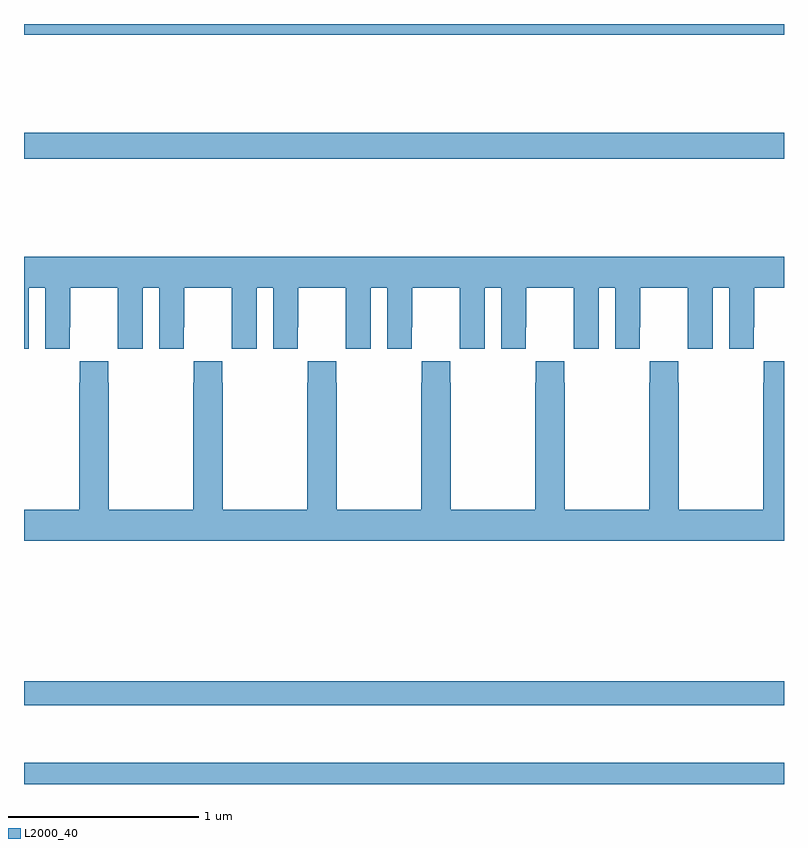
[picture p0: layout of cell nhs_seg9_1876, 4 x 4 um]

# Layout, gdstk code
import gdstk
lib = gdstk.Library(unit=1e-6, precision=1e-09)
def R(c, l, rs):  # rectangles x0, y0, x1, y1
    for r in rs: c.add(gdstk.rectangle(r[:2], r[2:], *l))
def P(c, l, *ps):  # polygons
    for p in ps: c.add(gdstk.Polygon(p, *l))
L2000_40 = (2000, 40)

nhs_seg9_1876 = lib.new_cell('nhs_seg9_1876')
R(nhs_seg9_1876, L2000_40, [(217,1168.5,221,1168.612), (217,1168.914,221,1169.042), (217,1171.792,221,1171.928), (217,1172.444,221,1172.5)])
P(nhs_seg9_1876, L2000_40, [(217.024,1171.112),(217.112,1171.112),(217.112,1170.792),(217.242,1170.792),(217.242,1170.904),(217.243,1170.904),(217.243,1171.112),(217.493,1171.112),(217.493,1170.904),(217.494,1170.904),(217.494,1170.792),(217.624,1170.792),(217.624,1171.112),(217.712,1171.112),(217.712,1170.792),(217.842,1170.792),(217.842,1170.904),(217.843,1170.904),(217.843,1171.112),(218.093,1171.112),(218.093,1170.904),(218.094,1170.904),(218.094,1170.792),(218.224,1170.792),(218.224,1171.112),(218.312,1171.112),(218.312,1170.792),(218.442,1170.792),(218.442,1170.904),(218.443,1170.904),(218.443,1171.112),(218.693,1171.112),(218.693,1170.904),(218.694,1170.904),(218.694,1170.792),(218.824,1170.792),(218.824,1171.112),(218.912,1171.112),(218.912,1170.792),(219.042,1170.792),(219.042,1170.904),(219.043,1170.904),(219.043,1171.112),(219.293,1171.112),(219.293,1170.904),(219.294,1170.904),(219.294,1170.792),(219.424,1170.792),(219.424,1171.112),(219.512,1171.112),(219.512,1170.792),(219.642,1170.792),(219.642,1170.904),(219.643,1170.904),(219.643,1171.112),(219.893,1171.112),(219.893,1170.904),(219.894,1170.904),(219.894,1170.792),(220.024,1170.792),(220.024,1171.112),(220.112,1171.112),(220.112,1170.792),(220.242,1170.792),(220.242,1170.904),(220.243,1170.904),(220.243,1171.112),(220.493,1171.112),(220.493,1170.904),(220.494,1170.904),(220.494,1170.792),(220.624,1170.792),(220.624,1171.112),(220.712,1171.112),(220.712,1170.792),(220.842,1170.792),(220.842,1170.904),(220.843,1170.904),(220.843,1171.112),(221,1171.112),(221,1171.276),(217,1171.276),(217,1170.792),(217.024,1170.792)],
  [(221,1170.724),(220.893,1170.724),(220.893,1170.611),(220.891,1170.611),(220.891,1169.944),(220.446,1169.944),(220.446,1170.611),(220.443,1170.611),(220.443,1170.724),(220.293,1170.724),(220.293,1170.611),(220.291,1170.611),(220.291,1169.944),(219.846,1169.944),(219.846,1170.611),(219.843,1170.611),(219.843,1170.724),(219.693,1170.724),(219.693,1170.611),(219.691,1170.611),(219.691,1169.944),(219.246,1169.944),(219.246,1170.611),(219.243,1170.611),(219.243,1170.724),(219.093,1170.724),(219.093,1170.611),(219.091,1170.611),(219.091,1169.944),(218.646,1169.944),(218.646,1170.611),(218.643,1170.611),(218.643,1170.724),(218.493,1170.724),(218.493,1170.611),(218.491,1170.611),(218.491,1169.944),(218.046,1169.944),(218.046,1170.611),(218.043,1170.611),(218.043,1170.724),(217.893,1170.724),(217.893,1170.611),(217.891,1170.611),(217.891,1169.944),(217.446,1169.944),(217.446,1170.611),(217.443,1170.611),(217.443,1170.724),(217.293,1170.724),(217.293,1170.611),(217.291,1170.611),(217.291,1169.944),(217,1169.944),(217,1169.78),(221,1169.78)])

lib.write_gds('nhs_seg9_1876.gds')
